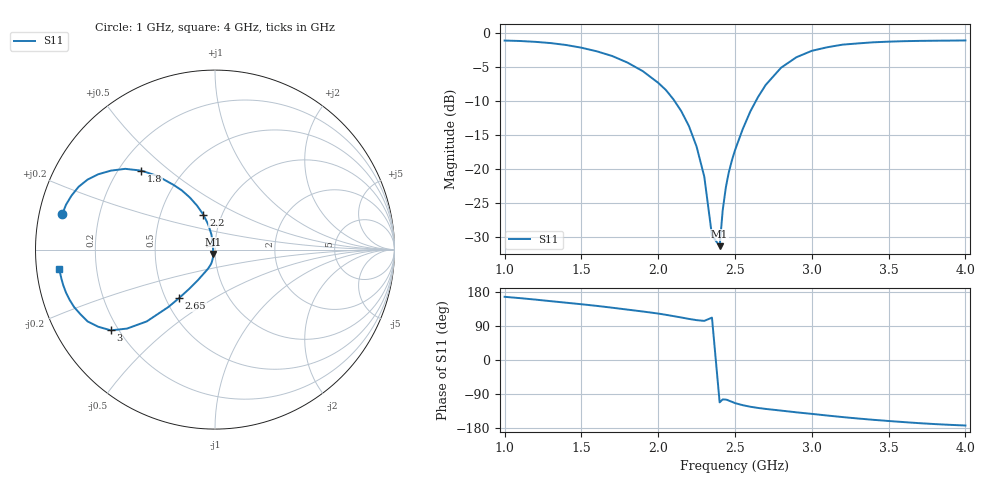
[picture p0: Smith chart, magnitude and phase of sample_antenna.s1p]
! Sample 1-port S-parameter: patch antenna with resonance at 2.45 GHz
! Mismatched outside the resonance band - good candidate for matching
# GHz S RI R 50
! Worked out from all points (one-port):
!   42 points, 1 GHz to 4 GHz, reference 50 ohm
!   lowest |S11| = -31.4 dB at 2.4 GHz (marker M1), VSWR 1.06, Z = 48.9 - j2.45 ohm
!   |S11| at or under -10 dB: 2.105 GHz to 2.638 GHz (532.9 MHz wide, 22.5 % of centre)
!   S11 on the Smith chart (normalised r, x): 1 GHz: 0.07, +0.12; 1.8 GHz: 0.29, +0.40; 2.2 GHz: 0.82, +0.33; 2.65 GHz: 0.59, -0.36; 3 GHz: 0.17, -0.33; 4 GHz: 0.07, -0.06
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1  -0.85 0.2
1.2  -0.8 0.3
1.4  -0.71 0.39
1.6  -0.58 0.44
1.8  -0.41 0.44
2  -0.23 0.36
2.05  -0.185 0.33
2.15  -0.1 0.245
2.2  -0.065 0.195
2.25  -0.038 0.14
2.3  -0.02 0.085
2.35  -0.012 0.03
2.4  -0.01 -0.025
2.42  -0.012 -0.048
2.44  -0.018 -0.07
2.46  -0.028 -0.09
2.5  -0.055 -0.125
2.6  -0.145 -0.22
2.65  -0.2 -0.27
2.7  -0.26 -0.32
2.8  -0.38 -0.4
2.9  -0.49 -0.44
3  -0.58 -0.45
3.2  -0.71 -0.4
3.3  -0.75 -0.36
3.5  -0.81 -0.28
3.7  -0.845 -0.2
4  -0.868 -0.108
